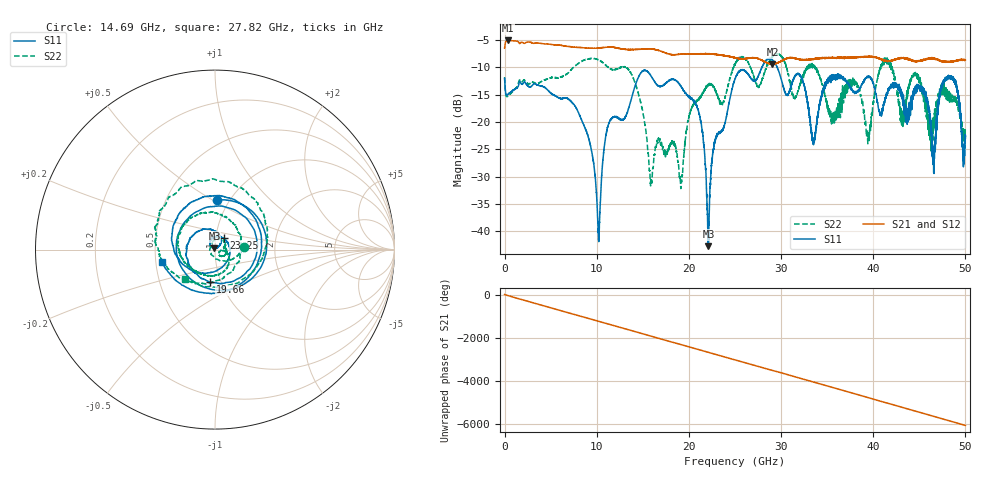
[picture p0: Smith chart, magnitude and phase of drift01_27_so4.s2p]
!Created with skrf (http://scikit-rf.org).
# Hz S RI R 50.0
!freq ReS11 ImS11 ReS21 ImS21 ReS12 ImS12 ReS22 ImS22
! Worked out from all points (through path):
!   10001 points, 300 kHz to 50 GHz, reference 50 ohm
!   highest |S21| = -5.05 dB at 325.3 MHz (marker M1); lowest = -9.4 dB at 29.06 GHz (marker M2)
!   group delay of S21, straight-line fit = 336 ps
!   lowest |S11| = -42.8 dB at 22.12 GHz (marker M3), VSWR 1.01, Z = 49.7 + j0.658 ohm
!   |S11| at or under -10 dB: start of sweep to 27.91 GHz; 29.59 GHz to end of sweep
!   |S22| runs from -32.2 to -7.5 dB; largest |S21 - S12| = 0.011
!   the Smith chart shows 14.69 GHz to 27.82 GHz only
!   S11 on the Smith chart (normalised r, x): 14.69 GHz: 0.87, +0.52; 19.66 GHz: 0.89, -0.33; 23.25 GHz: 1.10, +0.14; 27.82 GHz: 0.54, -0.08
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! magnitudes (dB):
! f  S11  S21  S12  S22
! 300 kHz  -12.0  -6.5  -6.6  -11.8
! 325.3 MHz  -15.0  -5.1  -5.1  -15.3
! 8.335 GHz  -19.6  -6.4  -6.4  -8.9
! 10.2 GHz  -41.7  -6.5  -6.4  -8.6
! 11.23 GHz  -20.6  -6.3  -6.3  -10.0
! 14.69 GHz  -11.2  -6.7  -6.7  -15.9
! 15.88 GHz  -11.5  -6.6  -6.6  -31.0
! 16.67 GHz  -13.4  -6.9  -6.9  -23.2
! 19.66 GHz  -14.7  -7.5  -7.5  -22.5
! 21.23 GHz  -19.5  -7.5  -7.5  -15.5
! 22.12 GHz  -42.8  -7.5  -7.5  -13.4
! 23.25 GHz  -21.9  -7.7  -7.7  -15.7
! 25 GHz  -12.1  -8.2  -8.3  -9.4
! 27.82 GHz  -10.4  -8.6  -8.6  -12.7
! 29.06 GHz  -8.6  -9.4  -9.4  -8.0
! 33.34 GHz  -22.4  -8.5  -8.5  -9.7
! 39.47 GHz  -11.8  -8.0  -8.0  -22.3
! 41.67 GHz  -13.8  -8.8  -8.7  -8.7
! 45.48 GHz  -14.4  -8.6  -8.6  -16.2
! 46.56 GHz  -25.8  -8.4  -8.3  -20.5
! 48.52 GHz  -11.8  -8.9  -8.9  -15.3
! 50 GHz  -23.0  -8.7  -8.6  -22.5
